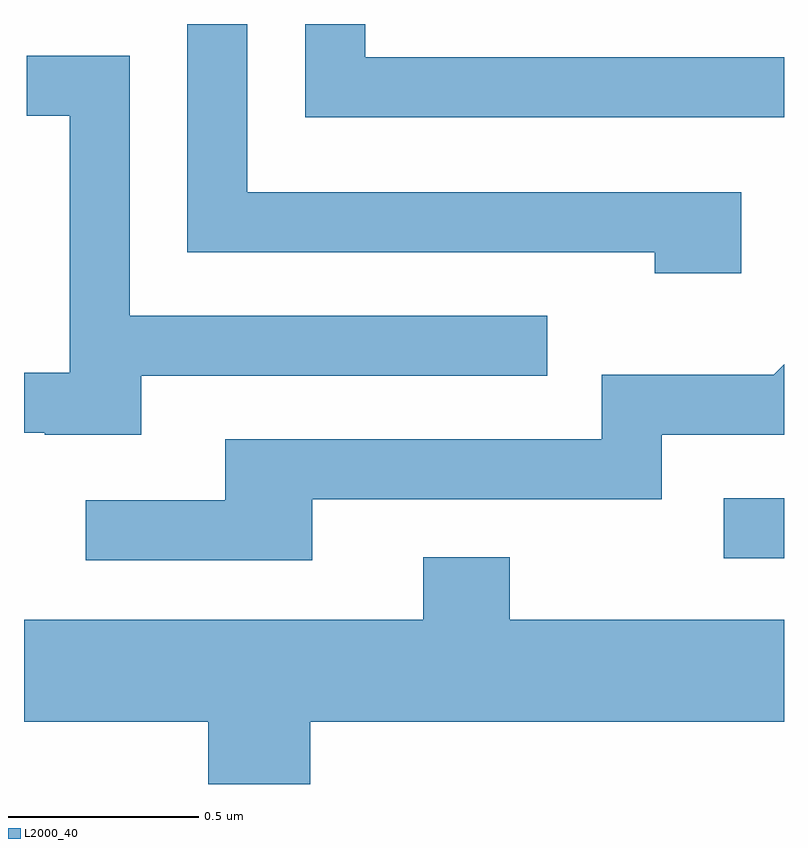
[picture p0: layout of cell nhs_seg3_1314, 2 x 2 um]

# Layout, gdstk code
import gdstk
lib = gdstk.Library(unit=1e-6, precision=1e-09)
def R(c, l, rs):  # rectangles x0, y0, x1, y1
    for r in rs: c.add(gdstk.rectangle(r[:2], r[2:], *l))
def P(c, l, *ps):  # polygons
    for p in ps: c.add(gdstk.Polygon(p, *l))
L2000_40 = (2000, 40)

nhs_seg3_1314 = lib.new_cell('nhs_seg3_1314')
R(nhs_seg3_1314, L2000_40, [(196.453,1197.486,196.611,1197.644)])
P(nhs_seg3_1314, L2000_40, [(196.499,1198.449),(195.199,1198.449),(195.199,1198.892),(195.041,1198.892),(195.041,1198.291),(196.271,1198.291),(196.271,1198.236),(196.499,1198.236)],
  [(196.611,1198.804),(195.509,1198.804),(195.509,1198.892),(195.351,1198.892),(195.351,1198.646),(196.611,1198.646)],
  [(194.919,1197.966),(195.988,1197.966),(195.988,1198.124),(194.889,1198.124),(194.889,1198.809),(194.618,1198.809),(194.618,1198.651),(194.731,1198.651),(194.731,1197.974),(194.611,1197.974),(194.611,1197.816),(194.665,1197.816),(194.665,1197.811),(194.919,1197.811)],
  [(195.369,1197.641),(196.289,1197.641),(196.289,1197.811),(196.611,1197.811),(196.611,1197.996),(196.584,1197.969),(196.131,1197.969),(196.131,1197.799),(195.141,1197.799),(195.141,1197.639),(194.773,1197.639),(194.773,1197.481),(195.369,1197.481)],
  [(195.364,1197.056),(196.611,1197.056),(196.611,1197.324),(195.889,1197.324),(195.889,1197.489),(195.661,1197.489),(195.661,1197.324),(194.611,1197.324),(194.611,1197.056),(195.096,1197.056),(195.096,1196.892),(195.364,1196.892)])

lib.write_gds('nhs_seg3_1314.gds')
